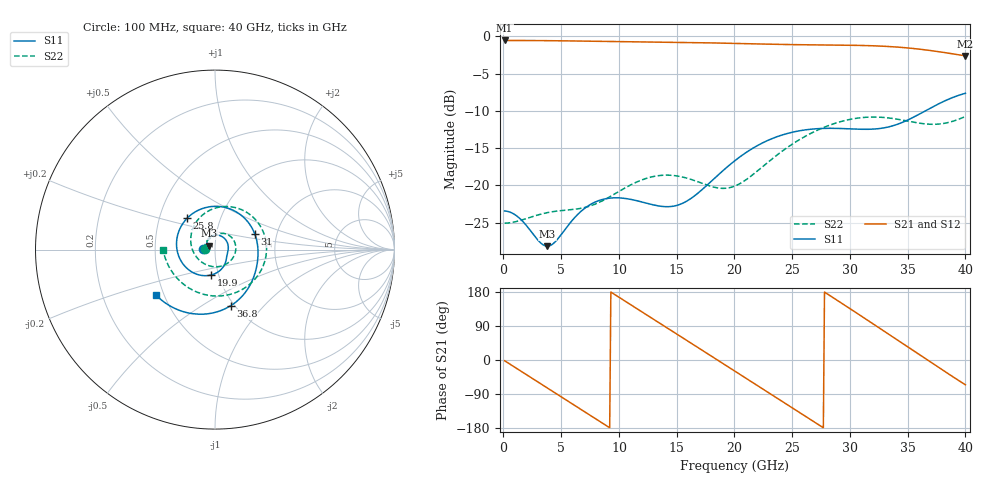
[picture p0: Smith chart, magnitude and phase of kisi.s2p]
! B_s8_L1L3_bd_d200: L1→L3, back-drilled to 0.2 mm below L3, drill Ø0.2
! stackup: 8-layer 1.6 mm FR-4 (generic)
! ports: 1, 2
! kisi-fdtd, conformal, dfine 0.0175 mm (the cell at metal ÷ 2), 1248885 cells
# Hz S RI R 50
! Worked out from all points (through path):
!   400 points, 100 MHz to 40 GHz, reference 50 ohm
!   highest |S21| = -0.55 dB at 100 MHz (marker M1); lowest = -2.6 dB at 40 GHz (marker M2)
!   group delay of S21, straight-line fit = 54.4 ps
!   lowest |S11| = -28.2 dB at 3.8 GHz (marker M3), VSWR 1.08, Z = 46.8 + j2.05 ohm
!   |S11| at or under -10 dB: start of sweep to 36.53 GHz
!   |S22| runs from -25.1 to -10.8 dB; largest |S21 - S12| = 0.0084
!   S11 on the Smith chart (normalised r, x): 100 MHz: 0.87, +0.00; 19.9 GHz: 0.92, -0.27; 25.8 GHz: 0.69, +0.26; 31 GHz: 1.54, +0.29; 36.8 GHz: 0.96, -0.67; 40 GHz: 0.45, -0.27
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1e8  -0.0674 0.00223  0.9381 -0.0319  0.9408 -0.0321  -0.0557 0.00108
1.8e9  -0.0482 0.0284  0.768 -0.5386  0.7682 -0.5411  -0.0553 0.0213
3.8e9  -0.0325 0.0218  0.2583 -0.8995  0.2562 -0.8994  -0.0442 0.0486
5.3e9  -0.0426 0.0267  -0.2122 -0.9086  -0.2128 -0.9069  -0.028 0.0621
6.8e9  -0.0414 0.0538  -0.6254 -0.6879  -0.6242 -0.687  -0.013 0.0692
8.4e9  -0.00829 0.0794  -0.8868 -0.2659  -0.8858 -0.2667  0.00119 0.0777
9.9e9  0.0363 0.0742  -0.9009 0.1976  -0.9013 0.1966  0.0215 0.0876
1.18e10  0.0708 0.0329  -0.6003 0.695  -0.6011 0.6953  0.064 0.0863
1.34e10  0.0728 -0.00356  -0.1555 0.9018  -0.1554 0.9027  0.1014 0.0567
1.51e10  0.0666 -0.0316  0.3597 0.8377  0.3605 0.8376  0.1155 -0.00235
1.7e10  0.0593 -0.0689  0.787 0.4506  0.787 0.4498  0.0776 -0.0703
1.99e10  -0.0229 -0.1419  0.8018 -0.4031  0.8014 -0.4025  -0.0535 -0.0822
2.01e10  -0.0336 -0.1439  0.7719 -0.4562  0.7717 -0.4555  -0.0625 -0.0774
2.3e10  -0.1953 -0.0522  0.0461 -0.8849  0.0468 -0.8853  -0.1352 0.0526
2.58e10  -0.1549 0.1751  -0.688 -0.5461  -0.689 -0.5463  -0.0662 0.1955
2.67e10  -0.0858 0.2226  -0.8194 -0.312  -0.8203 -0.3114  -0.0175 0.2245
2.88e10  0.1019 0.2189  -0.8186 0.306  -0.8176 0.3069  0.1239 0.2312
3.1e10  0.2212 0.0881  -0.3761 0.7834  -0.3754 0.7818  0.2562 0.1246
3.34e10  0.2353 -0.0764  0.3318 0.7875  0.3294 0.7878  0.2688 -0.0896
3.52e10  0.1931 -0.2017  0.7178 0.4237  0.7181 0.4269  0.1442 -0.2264
3.68e10  0.0874 -0.3127  0.8063 -0.0264  0.8106 -0.0261  -0.0322 -0.2556
4e10  -0.33 -0.2516  0.3069 -0.6732  0.2993 -0.6767  -0.2898 0.000497
